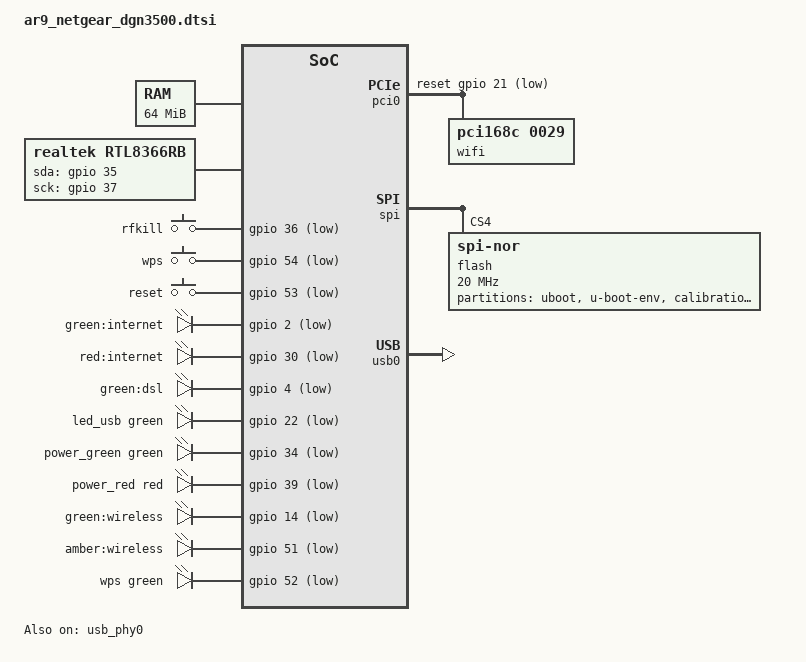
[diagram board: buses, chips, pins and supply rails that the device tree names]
#include "ar9.dtsi"

#include <dt-bindings/input/input.h>
#include <dt-bindings/leds/common.h>

/ {
	chosen {
		bootargs = "root= console=ttyLTQ0,115200";
	};

	aliases {
		led-boot = &power_green;
		led-failsafe = &power_red;
		led-running = &power_green;
		led-upgrade = &power_green;

		led-dsl = &dsl;
		led-internet = &internet;
		led-usb = &led_usb;
		led-wifi = &wifi_green;
	};

	memory@0 {
		device_type = "memory";
		reg = <0x0 0x4000000>;
	};

	rtl8366rb {
		compatible = "realtek,rtl8366rb";
		sda-gpios = <&gpio 35 GPIO_ACTIVE_HIGH>;
		sck-gpios = <&gpio 37 GPIO_ACTIVE_HIGH>;

		realtek,initvals = <
			0x0000 0x0830
			0x0400 0x8130
			0x000a 0x83ed
			0x0f51 0x0017
			0x02f5 0x0048
			0x02fa 0xffdf
			0x02fb 0xffe0
			0x0450 0x0000
			0x0401 0x0000
			0x0431 0x0960
		>;
	};

	keys {
		compatible = "gpio-keys-polled";
		poll-interval = <100>;

		rfkill {
			label = "rfkill";
			gpios = <&gpio 36 GPIO_ACTIVE_LOW>;
			linux,code = <KEY_RFKILL>;
		};
		wps {
			label = "wps";
			gpios = <&gpio 54 GPIO_ACTIVE_LOW>;
			linux,code = <KEY_WPS_BUTTON>;
		};
		reset {
			label = "reset";
			gpios = <&gpio 53 GPIO_ACTIVE_LOW>;
			linux,code = <KEY_RESTART>;
		};
	};

	leds {
		compatible = "gpio-leds";
		internet: internet {
			label = "green:internet";
			gpios = <&gpio 2 GPIO_ACTIVE_LOW>;
		};
		internet2 {
			label = "red:internet";
			gpios = <&gpio 30 GPIO_ACTIVE_LOW>;
		};
		dsl: dsl {
			label = "green:dsl";
			gpios = <&gpio 4 GPIO_ACTIVE_LOW>;
		};
		led_usb: usb {
			function = LED_FUNCTION_USB;
			color = <LED_COLOR_ID_GREEN>;
			gpios = <&gpio 22 GPIO_ACTIVE_LOW>;
		};
		power_green: power {
			function = LED_FUNCTION_POWER;
			color = <LED_COLOR_ID_GREEN>;
			gpios = <&gpio 34 GPIO_ACTIVE_LOW>;
			default-state = "keep";
		};
		power_red: power2 {
			function = LED_FUNCTION_POWER;
			color = <LED_COLOR_ID_RED>;
			gpios = <&gpio 39 GPIO_ACTIVE_LOW>;
		};
		wifi_green: wifi {
			label = "green:wireless";
			gpios = <&gpio 14 GPIO_ACTIVE_LOW>;
		};
		wifi2 {
			label = "amber:wireless";
			gpios = <&gpio 51 GPIO_ACTIVE_LOW>;
		};
		wps {
			function = LED_FUNCTION_WPS;
			color = <LED_COLOR_ID_GREEN>;
			gpios = <&gpio 52 GPIO_ACTIVE_LOW>;
		};
	};
};

&gpio {
	pinctrl-names = "default";
	pinctrl-0 = <&state_default>;

	state_default: pinmux {
		exin {
			lantiq,groups = "exin1";
			lantiq,function = "exin";
		};
	};
};

&gsw {
	phy-mode = "mii";

	nvmem-cells = <&macaddr_uboot_ethaddr 0>;
	nvmem-cell-names = "mac-address";
};

&ppe {
	nvmem-cells = <&macaddr_uboot_ethaddr 1>;
	nvmem-cell-names = "mac-address";
};

&pci0 {
	status = "okay";

	pinctrl-0 = <&pci_gnt1_pins>, <&pci_req1_pins>;
	pinctrl-names = "default";

	reset-gpios = <&gpio 21 GPIO_ACTIVE_LOW>;

	wifi@e,0 {
		compatible = "pci168c,0029";
		reg = <0x7000 0 0 0 0>;
		nvmem-cells = <&cal_f000>, <&macaddr_uboot_ethaddr 2>;
		nvmem-cell-names = "calibration", "mac-address";
	};
};

&spi {
	status = "okay";

	flash@4 {
		compatible = "jedec,spi-nor";
		reg = <4>;
		spi-max-frequency = <20000000>;

		partitions {
			compatible = "fixed-partitions";
			#address-cells = <1>;
			#size-cells = <1>;

			partition@0 {
				reg = <0x0 0x10000>;
				label = "uboot";
				read-only;
			};

			partition@10000 {
				reg = <0x10000 0x10000>;
				label = "u-boot-env";
				read-only;

				nvmem-layout {
					compatible = "u-boot,env";
					env-size = <0x1000>;

					macaddr_uboot_ethaddr: ethaddr {
						#nvmem-cell-cells = <1>;
					};
				};
			};

			partition@20000 {
				reg = <0x20000 0x10000>;
				label = "calibration";
				read-only;

				nvmem-layout {
					compatible = "fixed-layout";
					#address-cells = <1>;
					#size-cells = <1>;

					cal_f000: calibration@f000 {
						reg = <0xf000 0xeb8>;
					};
				};
			};

			partition@50000 {
				reg = <0x50000 0xfa0000>;
				label = "firmware";
			};
		};
	};
};

&usb_phy0 {
	status = "okay";
};

&usb0 {
	status = "okay";
};
